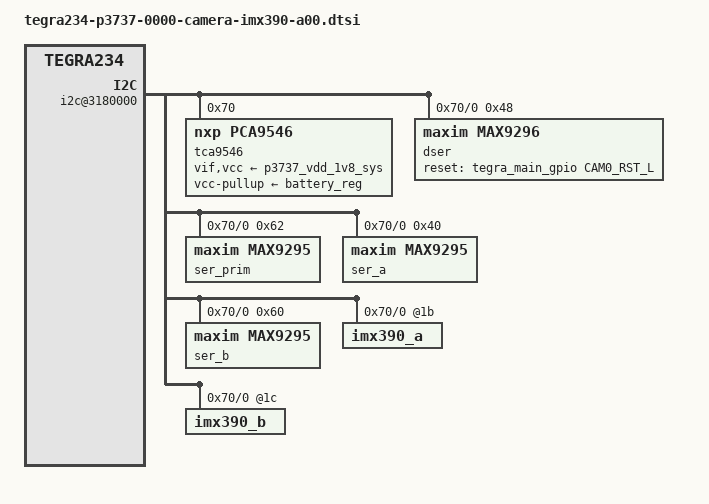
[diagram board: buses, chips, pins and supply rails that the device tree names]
/*
 * Copyright (c) 2018-2021, NVIDIA CORPORATION.  All rights reserved.
 *
 * This program is free software; you can redistribute it and/or modify it
 * under the terms and conditions of the GNU General Public License,
 * version 2, as published by the Free Software Foundation.
 *
 * This program is distributed in the hope it will be useful, but WITHOUT
 * ANY WARRANTY; without even the implied warranty of MERCHANTABILITY or
 * FITNESS FOR A PARTICULAR PURPOSE.  See the GNU General Public License for
 * more details.
 *
 * You should have received a copy of the GNU General Public License
 * along with this program.  If not, see <http://www.gnu.org/licenses/>.
 */
#include <t234-common-modules/tegra234-camera-imx390-a00.dtsi>
#include "dt-bindings/clock/tegra234-clock.h"

#define CAM0_RST_L	TEGRA234_MAIN_GPIO(H, 3)
#define CAMERA_I2C_MUX_BUS(x) (0x1E + x)

/* camera control gpio definitions */

/ {
	i2c@3180000 {
		tca9546@70 {
			compatible = "nxp,pca9546";
			reg = <0x70>;
			#address-cells = <1>;
			#size-cells = <0>;
			skip_mux_detect = "yes";
			vif-supply = <&p3737_vdd_1v8_sys>;
			vcc-supply = <&p3737_vdd_1v8_sys>;
			vcc-pullup-supply = <&battery_reg>;
			force_bus_start = <CAMERA_I2C_MUX_BUS(0)>;

			i2c@0 {
				reg = <0>;
				i2c-mux,deselect-on-exit;
				#address-cells = <1>;
				#size-cells = <0>;
				dser: max9296@48 {
					compatible = "maxim,max9296";
					reg = <0x48>;
					csi-mode = "2x4";
					max-src = <2>;
					reset-gpios = <&tegra_main_gpio CAM0_RST_L GPIO_ACTIVE_HIGH>;
				};
				ser_prim: max9295_prim@62 {
					compatible = "maxim,max9295";
					reg = <0x62>;
					is-prim-ser;
				};
				ser_a: max9295_a@40 {
					compatible = "maxim,max9295";
					reg = <0x40>;
					nvidia,gmsl-dser-device = <&dser>;
				};
				ser_b: max9295_b@60 {
					compatible = "maxim,max9295";
					reg = <0x60>;
					nvidia,gmsl-dser-device = <&dser>;
				};
				imx390_a@1b {
					def-addr = <0x1a>;
					/* Define any required hw resources needed by driver */
					/* ie. clocks, io pins, power sources */
					clocks = <&bpmp_clks TEGRA234_CLK_EXTPERIPH1>,
							<&bpmp_clks TEGRA234_CLK_EXTPERIPH1>;
					clock-names = "extperiph1", "pllp_grtba";
					mclk = "extperiph1";
					nvidia,gmsl-ser-device = <&ser_a>;
					nvidia,gmsl-dser-device = <&dser>;
				};
				imx390_b@1c {
					def-addr = <0x1a>;
					/* Define any required hw resources needed by driver */
					/* ie. clocks, io pins, power sources */
					clocks = <&bpmp_clks TEGRA234_CLK_EXTPERIPH1>,
							<&bpmp_clks TEGRA234_CLK_EXTPERIPH1>;
					clock-names = "extperiph1", "pllp_grtba";
					mclk = "extperiph1";
					nvidia,gmsl-ser-device = <&ser_b>;
					nvidia,gmsl-dser-device = <&dser>;
				};
			};
		};
	};
};
